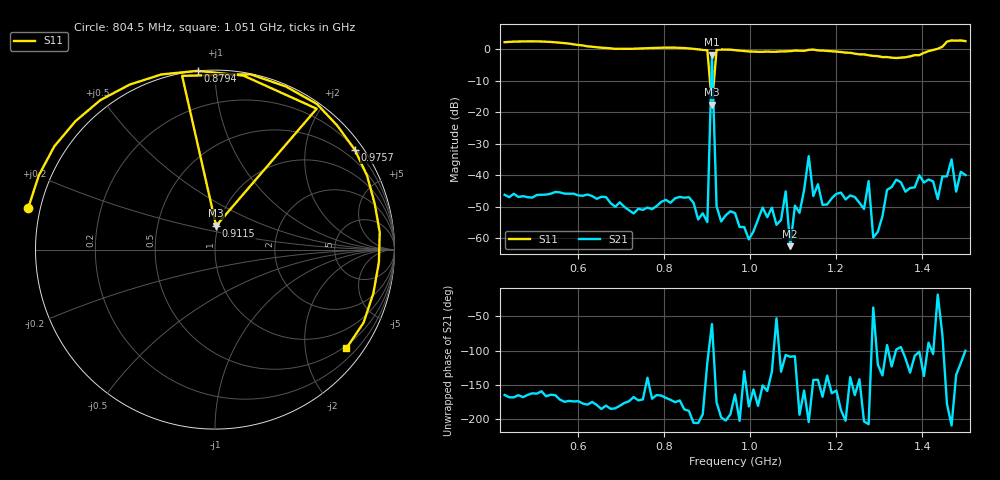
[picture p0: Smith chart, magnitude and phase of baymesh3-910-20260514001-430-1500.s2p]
# HZ S RI R 50
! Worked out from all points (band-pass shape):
!   101 points, 430 MHz to 1.5 GHz, reference 50 ohm
!   highest |S21| = -1.71 dB at 911.5 MHz (marker M1); lowest = -62.5 dB at 1.093 GHz (marker M2)
!   |S21| within 3 dB of the highest: 910.8959 MHz to 912.1675 MHz (1.272 MHz wide, 0.14 % of centre)
!   lowest |S11| = -17.5 dB at 911.5 MHz (marker M3), VSWR 1.31, Z = 48.9 + j13.2 ohm
!   |S11| at or under -10 dB: 906.8 MHz to 916.1 MHz (9.307 MHz wide, 1.02 % of centre)
!   S12 and S22 are empty: the file has one direction only
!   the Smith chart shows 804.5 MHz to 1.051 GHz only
!   S11 on the Smith chart (normalised r, x): 804.5 MHz: -0.03, +0.11; 879.4 MHz: -0.00, +0.91; 911.5 MHz: 0.98, +0.26; 975.7 MHz: 0.24, +3.12; 1.051 GHz: 0.43, -2.94
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4.3e8  -1.293 0.1471  -0.00474 -0.00132  0 0  0 0
5.156e8  -0.1037 1.328  -0.0046 -0.00176  0 0  0 0
6.119e8  1.148 0.1109  -0.00474 -0.000248  0 0  0 0
6.975e8  0.1287 -1.016  -0.00373 1.07e-05  0 0  0 0
7.938e8  -1.061 0.042  -0.00368 -0.000966  0 0  0 0
8.045e8  -1.04 0.2332  -0.00401 -0.000805  0 0  0 0
8.794e8  -0.0971 0.996  -0.0018 0.000856  0 0  0 0
9.008e8  0.5664 0.7847  -0.000817 -0.00162  0 0  0 0
9.115e8  0.00633 0.1326  0.397 -0.7195  0 0  0 0
9.222e8  -0.1831 0.968  -0.00323 -0.00027  0 0  0 0
9.65e8  0.6804 0.692  -0.00242 -0.000702  0 0  0 0
9.757e8  0.7804 0.5543  -0.0014 0.000571  0 0  0 0
1.0506e9  0.7325 -0.5489  -0.00201 -0.00233  0 0  0 0
1.0827e9  0.3083 -0.8775  -0.00155 -0.00535  0 0  0 0
1.0934e9  0.1478 -0.9268  -0.000242 -0.000712  0 0  0 0
1.1362e9  -0.5357 -0.8232  -0.0185 0.00817  0 0  0 0
1.1469e9  -0.7015 -0.7017  -0.00373 -0.00287  0 0  0 0
1.2753e9  -0.2847 0.7544  -0.00723 0.00368  0 0  0 0
1.286e9  -0.1439 0.7738  0.000825 -0.000623  0 0  0 0
1.3288e9  0.3762 0.6345  -0.00354 -0.00548  0 0  0 0
1.4144e9  0.774 -0.5329  0.000267 -0.0086  0 0  0 0
1.5e9  -0.3426 -1.308  -0.00176 -0.00999  0 0  0 0
